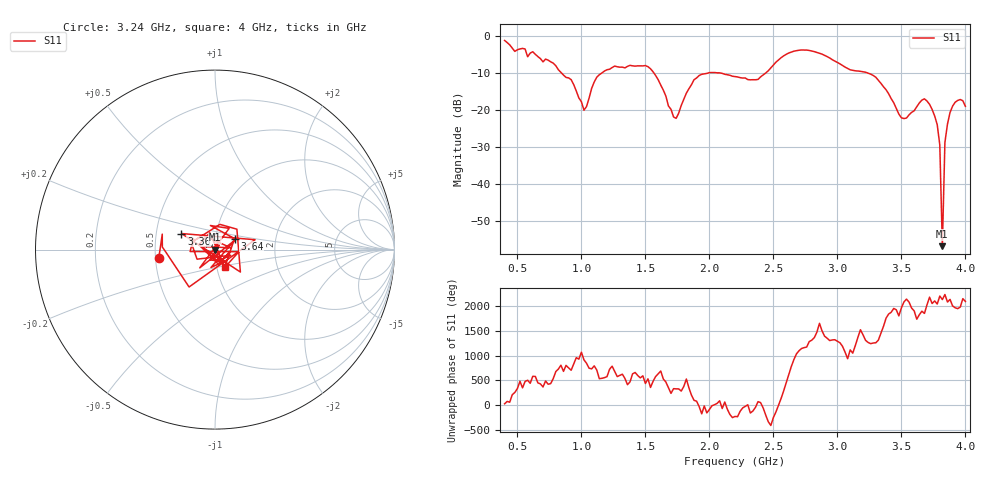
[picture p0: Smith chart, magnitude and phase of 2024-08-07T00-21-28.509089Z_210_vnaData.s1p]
!Created with skrf (http://scikit-rf.org).
# Hz S RI R 50.0
!freq ReS11 ImS11
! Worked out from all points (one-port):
!   181 points, 400 MHz to 4 GHz, reference 50 ohm
!   lowest |S11| = -56.7 dB at 3.82 GHz (marker M1), VSWR 1.00, Z = 50.1 - j0.0581 ohm
!   |S11| at or under -10 dB: 1.567 GHz to 1.988 GHz (421.3 MHz wide, 23.7 % of centre); 2.089 GHz to 2.439 GHz (349.9 MHz wide, 15.5 % of centre); 3.239 GHz to end of sweep (the widest 3 of 4)
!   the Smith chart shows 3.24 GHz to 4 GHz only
!   S11 on the Smith chart (normalised r, x): 3.24 GHz: 0.52, -0.05; 3.36 GHz: 0.68, +0.13; 3.64 GHz: 1.23, +0.15; 4 GHz: 1.10, -0.22
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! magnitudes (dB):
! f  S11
! 400 MHz  -1.2
! 860 MHz  -10.5
! 920 MHz  -11.8
! 1.02 GHz  -20.0
! 1.12 GHz  -11.1
! 1.3 GHz  -8.4
! 1.52 GHz  -8.3
! 1.6 GHz  -11.8
! 1.72 GHz  -21.8
! 1.76 GHz  -20.8
! 1.92 GHz  -10.7
! 2.2 GHz  -10.9
! 2.38 GHz  -11.7
! 2.66 GHz  -4.1
! 3.1 GHz  -9.1
! 3.24 GHz  -10.0
! 3.36 GHz  -13.7
! 3.5 GHz  -22.0
! 3.56 GHz  -21.3
! 3.64 GHz  -18.1
! 3.7 GHz  -17.5
! 3.78 GHz  -23.9
! 3.8 GHz  -29.4
! 3.82 GHz  -56.7
! 3.84 GHz  -28.7
! 3.86 GHz  -23.8
! 3.92 GHz  -17.9
! 4 GHz  -19.0
